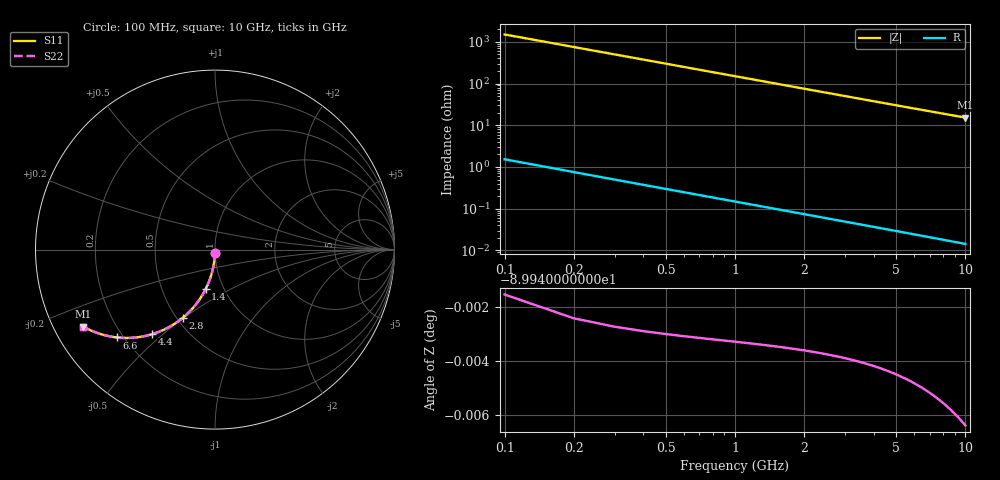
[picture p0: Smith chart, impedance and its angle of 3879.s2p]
# Hz S RI R 50.00
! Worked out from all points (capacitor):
!   100 points, 100 MHz to 10 GHz, reference 50 ohm
!   read as one part in shunt: C = 1.06 pF near 100 MHz
!   lowest |Z| = 15.3 ohm at 10 GHz (marker M1)
!   S11 on the Smith chart (normalised r, x): 100 MHz: 1.00, -0.03; 1.4 GHz: 0.82, -0.38; 2.8 GHz: 0.54, -0.49; 4.4 GHz: 0.32, -0.46; 6.6 GHz: 0.18, -0.37; 10 GHz: 0.09, -0.27
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1e8  -0.00026 -0.0165  0.9997 -0.0167  0.9997 -0.0167  -0.00026 -0.0165
2e8  -0.00111 -0.033  0.9988 -0.0335  0.9988 -0.0335  -0.00111 -0.033
3e8  -0.0025 -0.0494  0.9974 -0.0501  0.9974 -0.0501  -0.0025 -0.0494
4e8  -0.00444 -0.0658  0.9955 -0.0667  0.9955 -0.0667  -0.00444 -0.0658
5e8  -0.00692 -0.082  0.993 -0.0832  0.993 -0.0832  -0.00692 -0.082
6e8  -0.00992 -0.0981  0.99 -0.0995  0.99 -0.0995  -0.00992 -0.0981
7e8  -0.0135 -0.114  0.9865 -0.1157  0.9865 -0.1157  -0.0135 -0.114
9e8  -0.022 -0.1453  0.9779 -0.1475  0.9779 -0.1475  -0.022 -0.1453
1.1e9  -0.0325 -0.1757  0.9674 -0.1783  0.9674 -0.1783  -0.0325 -0.1757
1.4e9  -0.0516 -0.2191  0.9483 -0.2224  0.9483 -0.2224  -0.0516 -0.2191
1.8e9  -0.0824 -0.2724  0.9175 -0.2767  0.9175 -0.2767  -0.0824 -0.2724
2.3e9  -0.1278 -0.3307  0.8721 -0.3362  0.8721 -0.3362  -0.1278 -0.3307
2.8e9  -0.1783 -0.379  0.8216 -0.3857  0.8216 -0.3857  -0.1783 -0.379
3.4e9  -0.2423 -0.4239  0.7576 -0.4321  0.7576 -0.4321  -0.2423 -0.4239
4.4e9  -0.3487 -0.4707  0.6512 -0.4814  0.6512 -0.4814  -0.3487 -0.4707
5.1e9  -0.4182 -0.4866  0.5816 -0.499  0.5816 -0.499  -0.4182 -0.4866
5.8e9  -0.4818 -0.4921  0.518 -0.5062  0.518 -0.5062  -0.4818 -0.4921
6.6e9  -0.5463 -0.4893  0.4535 -0.5054  0.4535 -0.5054  -0.5463 -0.4893
6.7e9  -0.5537 -0.4884  0.4461 -0.5048  0.4461 -0.5048  -0.5537 -0.4884
7.5e9  -0.6086 -0.4783  0.3911 -0.4967  0.3911 -0.4967  -0.6086 -0.4783
8.4e9  -0.6612 -0.4624  0.3385 -0.4831  0.3385 -0.4831  -0.6612 -0.4624
1e10  -0.7347 -0.4285  0.2649 -0.4533  0.2649 -0.4533  -0.7347 -0.4285
